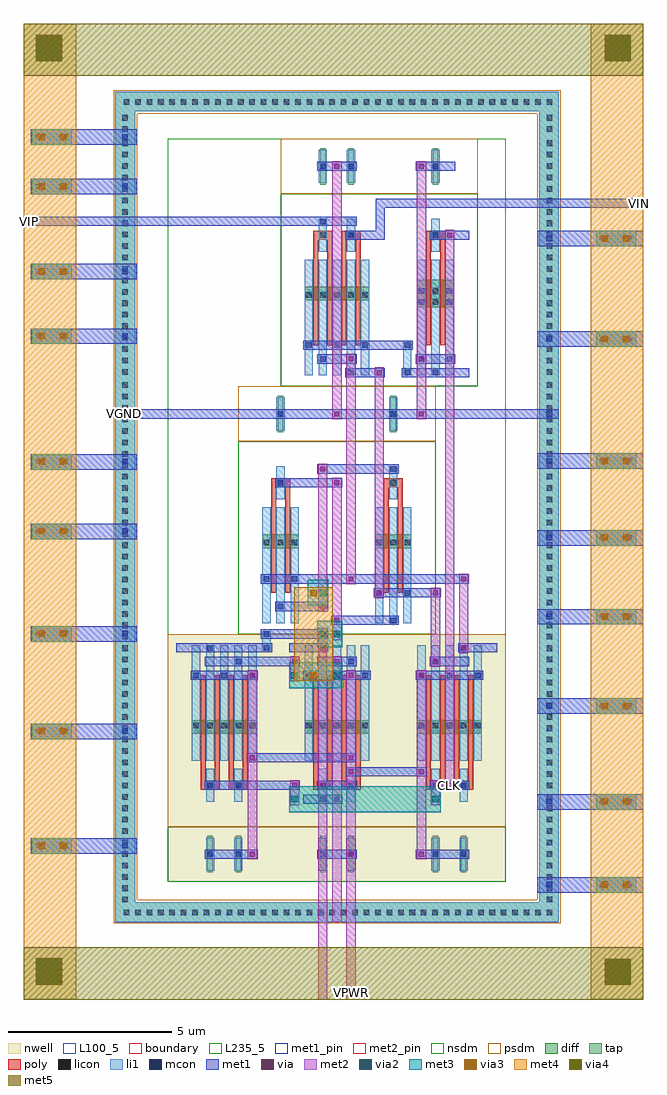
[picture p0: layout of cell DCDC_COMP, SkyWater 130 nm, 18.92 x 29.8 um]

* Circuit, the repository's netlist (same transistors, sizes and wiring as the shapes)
.subckt DCDC_COMP VPWR VGND VIN VIP VOP CLK
X0 VCM CLK VGND VGND  sky130_fd_pr__nfet_01v8 w=840000u l=150000u m=2
X1 VMP VIN VCM VGND  sky130_fd_pr__nfet_01v8 w=420000u l=150000u m=2
X2 VMN VIP VCM VGND  sky130_fd_pr__nfet_01v8 w=420000u l=150000u m=2
X3 VOP VON VMP VGND  sky130_fd_pr__nfet_01v8 w=420000u l=150000u m=2
X4 VON VOP VMN VGND  sky130_fd_pr__nfet_01v8 w=420000u l=150000u m=2
X5 VOP VON VPWR VPWR  sky130_fd_pr__pfet_01v8 w=420000u l=150000u m=2
X6 VON VOP VPWR VPWR  sky130_fd_pr__pfet_01v8 w=420000u l=150000u m=2
X7 VOP CLK VPWR VPWR  sky130_fd_pr__pfet_01v8 w=420000u l=150000u m=2
X8 VON CLK VPWR VPWR  sky130_fd_pr__pfet_01v8 w=420000u l=150000u m=2
X9 VMP CLK VPWR VPWR  sky130_fd_pr__pfet_01v8 w=420000u l=150000u m=2
X10 VMN CLK VPWR VPWR sky130_fd_pr__pfet_01v8 w=420000u l=150000u m=2
.ends DCDC_COMP

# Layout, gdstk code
from math import pi, radians
import gdstk
lib = gdstk.Library(unit=1e-6, precision=1e-09)
def R(c, l, rs):  # rectangles x0, y0, x1, y1
    for r in rs: c.add(gdstk.rectangle(r[:2], r[2:], *l))
def A(c, l, x, y, w, h, nx, ny, dx, dy):  # array of equal rectangles
    R(c, l, [(x+i*dx, y+j*dy, x+i*dx+w, y+j*dy+h) for i in range(nx) for j in range(ny)])
def P(c, l, *ps):  # polygons
    for p in ps: c.add(gdstk.Polygon(p, *l))
nwell = (64, 20)
diff = (65, 20)
tap = (65, 44)
poly = (66, 20)
licon = (66, 44)
li1 = (67, 20)
mcon = (67, 44)
met1_pin = (68, 16)
met1 = (68, 20)
via = (68, 44)
met2_pin = (69, 16)
met2 = (69, 20)
via2 = (69, 44)
met3 = (70, 20)
via3 = (70, 44)
met4 = (71, 20)
via4 = (71, 44)
met5 = (72, 20)
nsdm = (93, 44)
psdm = (94, 20)
L100_5 = (100, 5)
boundary = (235, 4)
L235_5 = (235, 5)

ccp_pmos_58853955_x1_y1_ = lib.new_cell('CCP_PMOS_58853955_X1_Y1_1653158392')
R(ccp_pmos_58853955_x1_y1_, nwell, [(0,0,3.44,7.56)])
R(ccp_pmos_58853955_x1_y1_, diff, [(0.735,2.625,2.705,3.045)])
R(ccp_pmos_58853955_x1_y1_, tap, [(1.205,6.16,1.375,7.28), (2.065,6.16,2.235,7.28)])
A(ccp_pmos_58853955_x1_y1_, poly, 1, 1.26, 0.15, 3.36, 4, 1, 0.43, 0)
R(ccp_pmos_58853955_x1_y1_, poly, [(1,4.485,1.58,4.755), (1.86,4.485,2.44,4.755)])
A(ccp_pmos_58853955_x1_y1_, licon, 0.775, 2.705, 0.17, 0.17, 3, 1, 0.43, 0)
A(ccp_pmos_58853955_x1_y1_, licon, 1.635, 2.705, 0.17, 0.17, 3, 1, 0.43, 0)
R(ccp_pmos_58853955_x1_y1_, licon, [(1.205,4.535,1.375,4.705), (2.065,4.535,2.235,4.705), (1.205,6.635,1.375,6.805), (2.065,6.635,2.235,6.805)])
A(ccp_pmos_58853955_x1_y1_, li1, 0.735, 0.335, 0.25, 3.53, 5, 1, 0.43, 0)
R(ccp_pmos_58853955_x1_y1_, li1, [(1.165,4.115,1.415,5.125), (2.025,4.115,2.275,5.125), (1.165,6.215,1.415,7.225), (2.025,6.215,2.275,7.225)])
A(ccp_pmos_58853955_x1_y1_, mcon, 0.775, 1.175, 0.17, 0.17, 3, 1, 0.86, 0)
R(ccp_pmos_58853955_x1_y1_, mcon, [(1.205,0.335,1.375,0.505), (2.065,0.755,2.235,0.925), (2.065,4.535,2.235,4.705), (1.205,4.955,1.375,5.125), (1.205,6.635,1.375,6.805), (2.065,6.635,2.235,6.805)])
R(ccp_pmos_58853955_x1_y1_, met1, [(0.26,0.28,1.46,0.56), (1.12,0.7,2.32,0.98), (0.69,1.12,2.75,1.4), (1.12,4.48,2.32,4.76), (0.69,4.9,1.89,5.18), (1.12,6.58,2.32,6.86)])
R(ccp_pmos_58853955_x1_y1_, via, [(1.215,0.345,1.365,0.495), (1.645,0.765,1.795,0.915), (2.075,1.185,2.225,1.335), (1.215,4.545,1.365,4.695), (1.645,4.965,1.795,5.115), (2.075,6.645,2.225,6.795)])
R(ccp_pmos_58853955_x1_y1_, met2, [(1.15,0.26,1.43,11.158), (1.58,0.68,1.86,8.796), (2.01,1.1,2.29,11.158)])
R(ccp_pmos_58853955_x1_y1_, nsdm, [(0,5.88,3.44,7.56)])
R(ccp_pmos_58853955_x1_y1_, psdm, [(0,0,3.44,5.88)])
R(ccp_pmos_58853955_x1_y1_, L100_5, [(0,0,3.44,7.56)])

cmc_pmos_23131506_x1_y1_ = lib.new_cell('CMC_PMOS_23131506_X1_Y1_1653158394')
R(cmc_pmos_23131506_x1_y1_, nwell, [(0,0,3.44,7.56)])
R(cmc_pmos_23131506_x1_y1_, diff, [(0.735,2.625,2.705,3.045)])
R(cmc_pmos_23131506_x1_y1_, tap, [(1.205,6.16,1.375,7.28), (2.065,6.16,2.235,7.28)])
A(cmc_pmos_23131506_x1_y1_, poly, 1, 1.26, 0.15, 3.36, 4, 1, 0.43, 0)
R(cmc_pmos_23131506_x1_y1_, poly, [(1,4.485,1.58,4.755), (1.86,4.485,2.44,4.755)])
A(cmc_pmos_23131506_x1_y1_, licon, 0.775, 2.705, 0.17, 0.17, 3, 1, 0.43, 0)
A(cmc_pmos_23131506_x1_y1_, licon, 1.635, 2.705, 0.17, 0.17, 3, 1, 0.43, 0)
R(cmc_pmos_23131506_x1_y1_, licon, [(1.205,4.535,1.375,4.705), (2.065,4.535,2.235,4.705), (1.205,6.635,1.375,6.805), (2.065,6.635,2.235,6.805)])
A(cmc_pmos_23131506_x1_y1_, li1, 0.735, 0.335, 0.25, 3.53, 5, 1, 0.43, 0)
R(cmc_pmos_23131506_x1_y1_, li1, [(1.165,4.115,1.415,5.125), (2.025,4.115,2.275,5.125), (1.165,6.215,1.415,7.225), (2.025,6.215,2.275,7.225)])
A(cmc_pmos_23131506_x1_y1_, mcon, 0.775, 1.175, 0.17, 0.17, 3, 1, 0.86, 0)
R(cmc_pmos_23131506_x1_y1_, mcon, [(1.205,0.335,1.375,0.505), (2.065,0.755,2.235,0.925), (1.205,4.535,1.375,4.705), (2.065,4.535,2.235,4.705), (1.205,6.635,1.375,6.805), (2.065,6.635,2.235,6.805)])
R(cmc_pmos_23131506_x1_y1_, met1, [(0.26,0.28,1.46,0.56), (1.12,0.7,2.32,0.98), (0.69,1.12,2.75,1.4), (1.12,4.48,2.32,4.76), (1.12,6.58,2.75,6.86)])
R(cmc_pmos_23131506_x1_y1_, via, [(2.505,1.185,2.655,1.335), (2.505,6.645,2.655,6.795)])
R(cmc_pmos_23131506_x1_y1_, met2, [(2.44,1.1,2.72,6.88)])
R(cmc_pmos_23131506_x1_y1_, nsdm, [(0,5.88,3.44,7.56)])
R(cmc_pmos_23131506_x1_y1_, psdm, [(0,0,3.44,5.88)])
R(cmc_pmos_23131506_x1_y1_, L100_5, [(0,0,3.44,7.56)])

ccp_s_nmos_b_5782581_x1_ = lib.new_cell('CCP_S_NMOS_B_5782581_X1_Y1_1653158393')
R(ccp_s_nmos_b_5782581_x1_, diff, [(0.735,2.625,1.845,3.045), (4.175,2.625,5.285,3.045)])
R(ccp_s_nmos_b_5782581_x1_, tap, [(1.205,6.16,1.375,7.28), (4.645,6.16,4.815,7.28)])
R(ccp_s_nmos_b_5782581_x1_, poly, [(1,1.26,1.15,4.62), (1.43,1.26,1.58,4.62), (4.44,1.26,4.59,4.62), (4.87,1.26,5.02,4.62), (1,4.485,1.58,4.755), (4.44,4.485,5.02,4.755)])
A(ccp_s_nmos_b_5782581_x1_, licon, 0.775, 2.705, 0.17, 0.17, 3, 1, 0.43, 0)
A(ccp_s_nmos_b_5782581_x1_, licon, 4.215, 2.705, 0.17, 0.17, 3, 1, 0.43, 0)
R(ccp_s_nmos_b_5782581_x1_, licon, [(1.205,4.535,1.375,4.705), (4.645,4.535,4.815,4.705), (1.205,6.635,1.375,6.805), (4.645,6.635,4.815,6.805)])
A(ccp_s_nmos_b_5782581_x1_, li1, 0.735, 0.335, 0.25, 3.53, 3, 1, 0.43, 0)
A(ccp_s_nmos_b_5782581_x1_, li1, 4.175, 0.335, 0.25, 3.53, 3, 1, 0.43, 0)
R(ccp_s_nmos_b_5782581_x1_, li1, [(1.165,4.115,1.415,5.125), (4.605,4.115,4.855,5.125), (1.165,6.215,1.415,7.225), (4.605,6.215,4.855,7.225)])
R(ccp_s_nmos_b_5782581_x1_, mcon, [(1.205,0.335,1.375,0.505), (4.645,0.755,4.815,0.925), (0.775,1.175,0.945,1.345), (1.635,1.175,1.805,1.345), (4.215,1.595,4.385,1.765), (5.075,1.595,5.245,1.765), (4.645,4.535,4.815,4.705), (1.205,4.955,1.375,5.125), (1.205,6.635,1.375,6.805), (4.645,6.635,4.815,6.805)])
R(ccp_s_nmos_b_5782581_x1_, met1, [(1.12,0.28,3.18,0.56), (3.27,0.7,4.9,0.98), (0.69,1.12,1.89,1.4), (4.13,1.54,5.33,1.82), (2.84,4.48,4.9,4.76), (1.12,4.9,3.61,5.18), (1.12,6.58,9.775,6.86)])
R(ccp_s_nmos_b_5782581_x1_, via, [(2.935,0.345,3.085,0.495), (3.365,0.765,3.515,0.915), (2.935,4.545,3.085,4.695), (3.365,4.965,3.515,5.115)])
R(ccp_s_nmos_b_5782581_x1_, met2, [(2.87,0.26,3.15,4.78), (3.3,0.68,3.58,5.2)])
R(ccp_s_nmos_b_5782581_x1_, nsdm, [(0,0,6.02,5.88)])
R(ccp_s_nmos_b_5782581_x1_, psdm, [(0,5.88,6.02,7.56)])
R(ccp_s_nmos_b_5782581_x1_, L100_5, [(0,0,6.02,7.56)])

dp_nmos_b_93310865_x1_y1 = lib.new_cell('DP_NMOS_B_93310865_X1_Y1_1653158395')
R(dp_nmos_b_93310865_x1_y1, diff, [(0.735,2.625,2.705,3.045)])
R(dp_nmos_b_93310865_x1_y1, tap, [(1.205,6.16,1.375,7.28), (2.065,6.16,2.235,7.28)])
A(dp_nmos_b_93310865_x1_y1, poly, 1, 1.26, 0.15, 3.36, 4, 1, 0.43, 0)
R(dp_nmos_b_93310865_x1_y1, poly, [(1,4.485,1.58,4.755), (1.86,4.485,2.44,4.755)])
A(dp_nmos_b_93310865_x1_y1, licon, 0.775, 2.705, 0.17, 0.17, 3, 1, 0.43, 0)
A(dp_nmos_b_93310865_x1_y1, licon, 1.635, 2.705, 0.17, 0.17, 3, 1, 0.43, 0)
R(dp_nmos_b_93310865_x1_y1, licon, [(1.205,4.535,1.375,4.705), (2.065,4.535,2.235,4.705), (1.205,6.635,1.375,6.805), (2.065,6.635,2.235,6.805)])
A(dp_nmos_b_93310865_x1_y1, li1, 0.735, 0.335, 0.25, 3.53, 5, 1, 0.43, 0)
R(dp_nmos_b_93310865_x1_y1, li1, [(1.165,4.115,1.415,5.125), (2.025,4.115,2.275,5.125), (1.165,6.215,1.415,7.225), (2.025,6.215,2.275,7.225)])
A(dp_nmos_b_93310865_x1_y1, mcon, 0.775, 1.175, 0.17, 0.17, 3, 1, 0.86, 0)
R(dp_nmos_b_93310865_x1_y1, mcon, [(1.205,0.335,1.375,0.505), (2.065,0.755,2.235,0.925), (1.205,4.535,1.375,4.705), (2.065,4.955,2.235,5.125), (1.205,6.635,1.375,6.805), (2.065,6.635,2.235,6.805)])
R(dp_nmos_b_93310865_x1_y1, met1, [(0.26,0.28,1.46,0.56), (1.12,0.7,2.32,0.98), (0.69,1.12,2.75,1.4), (0.26,4.48,1.46,4.76), (1.12,4.9,2.32,5.18), (1.12,6.58,2.32,6.86)])
R(dp_nmos_b_93310865_x1_y1, nsdm, [(0,0,3.44,5.88)])
R(dp_nmos_b_93310865_x1_y1, psdm, [(0,5.88,3.44,7.56)])
R(dp_nmos_b_93310865_x1_y1, L100_5, [(0,0,3.44,7.56)])

nmos_s_93862694_x1_y1_16 = lib.new_cell('NMOS_S_93862694_X1_Y1_1653158396')
R(nmos_s_93862694_x1_y1_16, diff, [(0.735,2.415,1.845,3.255)])
R(nmos_s_93862694_x1_y1_16, tap, [(1.205,6.16,1.375,7.28)])
R(nmos_s_93862694_x1_y1_16, poly, [(1,1.26,1.15,4.62), (1.43,1.26,1.58,4.62), (1,4.485,1.58,4.755)])
A(nmos_s_93862694_x1_y1_16, licon, 0.775, 2.495, 0.17, 0.17, 3, 2, 0.43, 0.34)
R(nmos_s_93862694_x1_y1_16, licon, [(1.205,4.535,1.375,4.705), (1.205,6.635,1.375,6.805)])
A(nmos_s_93862694_x1_y1_16, li1, 0.735, 0.335, 0.25, 3.53, 3, 1, 0.43, 0)
R(nmos_s_93862694_x1_y1_16, li1, [(1.165,4.115,1.415,5.125), (1.165,6.215,1.415,7.225)])
R(nmos_s_93862694_x1_y1_16, mcon, [(1.205,0.335,1.375,0.505), (0.775,0.755,0.945,0.925), (1.635,0.755,1.805,0.925), (1.205,4.535,1.375,4.705), (1.205,6.635,1.375,6.805)])
R(nmos_s_93862694_x1_y1_16, met1, [(0.26,0.28,1.46,0.56), (0.69,0.7,1.89,0.98), (0.26,4.48,1.46,4.76), (0.69,6.58,1.89,6.86)])
R(nmos_s_93862694_x1_y1_16, via, [(1.645,0.765,1.795,0.915), (1.645,6.645,1.795,6.795)])
R(nmos_s_93862694_x1_y1_16, met2, [(1.58,0.68,1.86,6.88)])
R(nmos_s_93862694_x1_y1_16, nsdm, [(0,0,2.58,5.88)])
R(nmos_s_93862694_x1_y1_16, psdm, [(0,5.88,2.58,7.56)])
R(nmos_s_93862694_x1_y1_16, L100_5, [(0,0,2.58,7.56)])

dcdc_comp = lib.new_cell('DCDC_COMP')
R(dcdc_comp, tap, [(2.799,2.362,16.342,2.962), (2.799,2.362,3.399,27.718), (15.742,2.362,16.342,27.718), (2.799,27.118,16.342,27.718), (2.799,27.118,16.342,27.718)])
A(dcdc_comp, licon, 3.053, 2.573, 0.17, 0.17, 7, 2, 0.349, 24.743)
A(dcdc_comp, licon, 6.194, 2.573, 0.17, 0.17, 9, 2, 0.349, 24.743)
A(dcdc_comp, licon, 10.033, 2.573, 0.17, 0.17, 8, 2, 0.349, 24.743)
A(dcdc_comp, licon, 13.523, 2.573, 0.17, 0.17, 8, 2, 0.349, 24.743)
A(dcdc_comp, licon, 3.009, 4.358, 0.17, 0.17, 1, 8, 0, 0.349)
A(dcdc_comp, licon, 15.964, 4.358, 0.17, 0.17, 1, 8, 0, 0.349)
A(dcdc_comp, licon, 3.009, 7.848, 0.17, 0.17, 1, 9, 0, 0.349)
A(dcdc_comp, licon, 15.964, 7.848, 0.17, 0.17, 1, 9, 0, 0.349)
A(dcdc_comp, licon, 3.009, 12.389, 0.17, 0.17, 1, 8, 0, 0.349)
A(dcdc_comp, licon, 15.964, 12.389, 0.17, 0.17, 1, 8, 0, 0.349)
A(dcdc_comp, licon, 3.009, 15.879, 0.17, 0.17, 1, 9, 0, 0.349)
A(dcdc_comp, licon, 15.964, 15.879, 0.17, 0.17, 1, 9, 0, 0.349)
A(dcdc_comp, licon, 3.009, 19.777, 0.17, 0.17, 1, 8, 0, 0.349)
A(dcdc_comp, licon, 15.964, 19.777, 0.17, 0.17, 1, 8, 0, 0.349)
A(dcdc_comp, licon, 3.009, 23.267, 0.17, 0.17, 1, 9, 0, 0.349)
A(dcdc_comp, licon, 15.964, 23.267, 0.17, 0.17, 1, 9, 0, 0.349)
R(dcdc_comp, licon, [(5.147,2.573,5.317,2.743), (5.147,2.573,5.317,2.743), (5.496,2.573,5.666,2.743), (5.496,2.573,5.666,2.743), (5.496,2.573,5.666,2.743), (5.845,2.573,6.015,2.743), (5.845,2.573,6.015,2.743), (5.845,2.573,6.015,2.743), (5.845,2.573,6.015,2.743), (6.194,2.573,6.364,2.743), (6.194,2.573,6.364,2.743), (6.194,2.573,6.364,2.743), (8.986,2.573,9.156,2.743), (8.986,2.573,9.156,2.743), (9.335,2.573,9.505,2.743), (9.335,2.573,9.505,2.743), (9.335,2.573,9.505,2.743), (9.684,2.573,9.854,2.743), (9.684,2.573,9.854,2.743), (9.684,2.573,9.854,2.743), (9.684,2.573,9.854,2.743), (10.033,2.573,10.203,2.743), (10.033,2.573,10.203,2.743), (10.033,2.573,10.203,2.743), (12.476,2.573,12.646,2.743), (12.476,2.573,12.646,2.743), (12.825,2.573,12.995,2.743), (12.825,2.573,12.995,2.743), (12.825,2.573,12.995,2.743), (13.174,2.573,13.344,2.743), (13.174,2.573,13.344,2.743), (13.174,2.573,13.344,2.743), (13.174,2.573,13.344,2.743), (13.523,2.573,13.693,2.743), (13.523,2.573,13.693,2.743), (13.523,2.573,13.693,2.743), (3.009,2.962,3.179,3.132), (15.964,2.962,16.134,3.132), (3.009,3.311,3.179,3.481), (3.009,3.311,3.179,3.481), (3.009,3.311,3.179,3.481), (3.009,3.311,3.179,3.481), (15.964,3.311,16.134,3.481), (15.964,3.311,16.134,3.481), (15.964,3.311,16.134,3.481), (15.964,3.311,16.134,3.481), (3.009,3.66,3.179,3.83), (3.009,3.66,3.179,3.83), (3.009,3.66,3.179,3.83), (3.009,3.66,3.179,3.83), (15.964,3.66,16.134,3.83), (15.964,3.66,16.134,3.83), (15.964,3.66,16.134,3.83), (15.964,3.66,16.134,3.83), (3.009,4.009,3.179,4.179), (3.009,4.009,3.179,4.179), (3.009,4.009,3.179,4.179), (15.964,4.009,16.134,4.179), (15.964,4.009,16.134,4.179), (15.964,4.009,16.134,4.179), (3.009,4.358,3.179,4.528), (3.009,4.358,3.179,4.528), (15.964,4.358,16.134,4.528), (15.964,4.358,16.134,4.528), (3.009,6.801,3.179,6.971), (3.009,6.801,3.179,6.971), (3.009,6.801,3.179,6.971), (15.964,6.801,16.134,6.971), (15.964,6.801,16.134,6.971), (15.964,6.801,16.134,6.971), (3.009,7.15,3.179,7.32), (3.009,7.15,3.179,7.32), (3.009,7.15,3.179,7.32), (3.009,7.15,3.179,7.32), (15.964,7.15,16.134,7.32), (15.964,7.15,16.134,7.32), (15.964,7.15,16.134,7.32), (15.964,7.15,16.134,7.32), (3.009,7.499,3.179,7.669), (3.009,7.499,3.179,7.669), (3.009,7.499,3.179,7.669), (15.964,7.499,16.134,7.669), (15.964,7.499,16.134,7.669), (15.964,7.499,16.134,7.669), (3.009,7.848,3.179,8.018), (3.009,7.848,3.179,8.018), (15.964,7.848,16.134,8.018), (15.964,7.848,16.134,8.018), (3.009,10.64,3.179,10.81), (3.009,10.64,3.179,10.81), (3.009,10.64,3.179,10.81), (15.964,10.64,16.134,10.81), (15.964,10.64,16.134,10.81), (15.964,10.64,16.134,10.81), (3.009,10.993,3.179,11.163), (15.964,10.993,16.134,11.163), (3.009,11.342,3.179,11.512), (3.009,11.342,3.179,11.512), (3.009,11.342,3.179,11.512), (3.009,11.342,3.179,11.512), (15.964,11.342,16.134,11.512), (15.964,11.342,16.134,11.512), (15.964,11.342,16.134,11.512), (15.964,11.342,16.134,11.512), (3.009,11.691,3.179,11.861), (3.009,11.691,3.179,11.861), (3.009,11.691,3.179,11.861), (3.009,11.691,3.179,11.861), (15.964,11.691,16.134,11.861), (15.964,11.691,16.134,11.861), (15.964,11.691,16.134,11.861), (15.964,11.691,16.134,11.861), (3.009,12.04,3.179,12.21), (3.009,12.04,3.179,12.21), (3.009,12.04,3.179,12.21), (15.964,12.04,16.134,12.21), (15.964,12.04,16.134,12.21), (15.964,12.04,16.134,12.21), (3.009,12.389,3.179,12.559), (3.009,12.389,3.179,12.559), (15.964,12.389,16.134,12.559), (15.964,12.389,16.134,12.559), (3.009,14.832,3.179,15.002), (3.009,14.832,3.179,15.002), (3.009,14.832,3.179,15.002), (15.964,14.832,16.134,15.002), (15.964,14.832,16.134,15.002), (15.964,14.832,16.134,15.002), (3.009,15.181,3.179,15.351), (3.009,15.181,3.179,15.351), (3.009,15.181,3.179,15.351), (3.009,15.181,3.179,15.351), (15.964,15.181,16.134,15.351), (15.964,15.181,16.134,15.351), (15.964,15.181,16.134,15.351), (15.964,15.181,16.134,15.351), (3.009,15.53,3.179,15.7), (3.009,15.53,3.179,15.7), (3.009,15.53,3.179,15.7), (15.964,15.53,16.134,15.7), (15.964,15.53,16.134,15.7), (15.964,15.53,16.134,15.7), (3.009,15.879,3.179,16.049), (3.009,15.879,3.179,16.049), (15.964,15.879,16.134,16.049), (15.964,15.879,16.134,16.049), (3.009,18.671,3.179,18.841), (3.009,18.671,3.179,18.841), (3.009,18.671,3.179,18.841), (15.964,18.671,16.134,18.841), (15.964,18.671,16.134,18.841), (15.964,18.671,16.134,18.841), (3.009,19.079,3.179,19.249), (3.009,19.079,3.179,19.249), (3.009,19.079,3.179,19.249), (3.009,19.079,3.179,19.249), (15.964,19.079,16.134,19.249), (15.964,19.079,16.134,19.249), (15.964,19.079,16.134,19.249), (15.964,19.079,16.134,19.249), (3.009,19.428,3.179,19.598), (3.009,19.428,3.179,19.598), (3.009,19.428,3.179,19.598), (15.964,19.428,16.134,19.598), (15.964,19.428,16.134,19.598), (15.964,19.428,16.134,19.598), (3.009,19.777,3.179,19.947), (3.009,19.777,3.179,19.947), (15.964,19.777,16.134,19.947), (15.964,19.777,16.134,19.947), (3.009,22.22,3.179,22.39), (3.009,22.22,3.179,22.39), (3.009,22.22,3.179,22.39), (15.964,22.22,16.134,22.39), (15.964,22.22,16.134,22.39), (15.964,22.22,16.134,22.39), (3.009,22.569,3.179,22.739), (3.009,22.569,3.179,22.739), (3.009,22.569,3.179,22.739), (3.009,22.569,3.179,22.739), (15.964,22.569,16.134,22.739), (15.964,22.569,16.134,22.739), (15.964,22.569,16.134,22.739), (15.964,22.569,16.134,22.739), (3.009,22.918,3.179,23.088), (3.009,22.918,3.179,23.088), (3.009,22.918,3.179,23.088), (15.964,22.918,16.134,23.088), (15.964,22.918,16.134,23.088), (15.964,22.918,16.134,23.088), (3.009,23.267,3.179,23.437), (3.009,23.267,3.179,23.437), (15.964,23.267,16.134,23.437), (15.964,23.267,16.134,23.437), (3.009,26.059,3.179,26.229), (3.009,26.059,3.179,26.229), (3.009,26.059,3.179,26.229), (15.964,26.059,16.134,26.229), (15.964,26.059,16.134,26.229), (15.964,26.059,16.134,26.229), (3.009,26.488,3.179,26.658), (15.964,26.488,16.134,26.658), (3.009,26.837,3.179,27.007), (3.009,26.837,3.179,27.007), (3.009,26.837,3.179,27.007), (3.009,26.837,3.179,27.007), (15.964,26.837,16.134,27.007), (15.964,26.837,16.134,27.007), (15.964,26.837,16.134,27.007), (15.964,26.837,16.134,27.007), (5.147,27.316,5.317,27.486), (5.147,27.316,5.317,27.486), (5.496,27.316,5.666,27.486), (5.496,27.316,5.666,27.486), (5.496,27.316,5.666,27.486), (5.845,27.316,6.015,27.486), (5.845,27.316,6.015,27.486), (5.845,27.316,6.015,27.486), (5.845,27.316,6.015,27.486), (6.194,27.316,6.364,27.486), (6.194,27.316,6.364,27.486), (6.194,27.316,6.364,27.486), (8.986,27.316,9.156,27.486), (8.986,27.316,9.156,27.486), (9.335,27.316,9.505,27.486), (9.335,27.316,9.505,27.486), (9.335,27.316,9.505,27.486), (9.684,27.316,9.854,27.486), (9.684,27.316,9.854,27.486), (9.684,27.316,9.854,27.486), (9.684,27.316,9.854,27.486), (10.033,27.316,10.203,27.486), (10.033,27.316,10.203,27.486), (10.033,27.316,10.203,27.486), (12.476,27.316,12.646,27.486), (12.476,27.316,12.646,27.486), (12.825,27.316,12.995,27.486), (12.825,27.316,12.995,27.486), (12.825,27.316,12.995,27.486), (13.174,27.316,13.344,27.486), (13.174,27.316,13.344,27.486), (13.174,27.316,13.344,27.486), (13.174,27.316,13.344,27.486), (13.523,27.316,13.693,27.486), (13.523,27.316,13.693,27.486), (13.523,27.316,13.693,27.486)])
R(dcdc_comp, li1, [(2.799,2.362,16.342,2.962), (2.799,2.362,3.399,27.718), (15.742,2.362,16.342,27.718), (7.289,10.653,7.539,10.823), (7.289,10.653,7.539,10.823), (7.289,10.653,7.539,10.823), (7.289,10.653,7.539,10.823), (7.289,10.738,7.539,11.158), (7.289,11.073,7.539,11.243), (7.289,11.073,7.539,11.243), (7.289,11.073,7.539,11.243), (7.289,11.073,7.539,11.243), (11.589,19.053,11.839,19.223), (11.589,19.053,11.839,19.223), (11.589,19.138,11.839,19.978), (11.589,19.893,11.839,20.063), (11.589,19.893,11.839,20.063), (2.799,27.118,16.342,27.718)])
R(dcdc_comp, mcon, [(15.961,3.42,16.131,3.59), (3.01,4.612,3.18,4.782), (15.961,5.957,16.131,6.127), (3.01,8.11,3.18,8.28), (15.961,8.883,16.131,9.053), (7.329,10.653,7.499,10.823), (7.329,10.653,7.499,10.823), (7.329,10.653,7.499,10.823), (7.329,10.653,7.499,10.823), (7.329,11.073,7.499,11.243), (7.329,11.073,7.499,11.243), (7.329,11.073,7.499,11.243), (7.329,11.073,7.499,11.243), (3.01,11.086,3.18,11.256), (15.961,11.608,16.131,11.778), (15.961,14.019,16.131,14.189), (3.01,14.215,3.18,14.385), (3.01,16.34,3.18,16.51), (15.961,16.359,16.131,16.529), (15.961,16.359,16.131,16.529), (15.961,17.786,16.131,17.956), (3.009,17.798,3.179,17.968), (11.629,19.053,11.799,19.223), (11.629,19.053,11.799,19.223), (11.629,19.893,11.799,20.063), (11.629,19.893,11.799,20.063), (15.961,20.088,16.131,20.258), (3.01,20.175,3.18,20.345), (3.01,22.147,3.18,22.317), (15.961,23.154,16.131,23.324), (3.01,24.745,3.18,24.915), (3.01,26.253,3.18,26.423)])
R(dcdc_comp, met1_pin, [(12.994,6.528,13.014,6.548), (3.083,17.87,3.103,17.89), (0.179,23.743,0.199,23.763), (18.803,24.302,18.823,24.322)])
R(dcdc_comp, met1, [(15.684,3.262,18.919,3.732), (0.222,4.454,3.457,4.924), (15.684,5.799,18.919,6.269), (6.554,6.398,8.274,6.678), (8.114,6.398,8.434,6.678), (8.114,6.398,8.434,6.678), (8.114,6.398,8.434,6.678), (8.114,6.398,8.434,6.678), (12.414,6.398,12.734,6.678), (12.414,6.398,12.734,6.678), (12.414,6.398,12.734,6.678), (12.414,6.398,12.734,6.678), (12.844,6.398,13.164,6.678), (12.844,6.398,13.164,6.678), (9.834,6.818,10.154,7.098), (9.834,6.818,10.154,7.098), (9.834,6.818,10.154,7.098), (9.834,6.818,10.154,7.098), (9.994,6.818,12.144,7.098), (11.984,6.818,12.304,7.098), (11.984,6.818,12.304,7.098), (11.984,6.818,12.304,7.098), (11.984,6.818,12.304,7.098), (6.824,7.238,7.144,7.518), (6.824,7.238,7.144,7.518), (6.984,7.238,9.994,7.518), (9.834,7.238,10.154,7.518), (9.834,7.238,10.154,7.518), (0.222,7.952,3.457,8.422), (15.684,8.725,18.919,9.195), (6.554,10.178,8.274,10.458), (8.114,10.178,8.434,10.458), (8.114,10.178,8.434,10.458), (8.114,10.178,8.434,10.458), (8.114,10.178,8.434,10.458), (12.414,10.178,12.734,10.458), (12.414,10.178,12.734,10.458), (12.414,10.178,12.734,10.458), (12.414,10.178,12.734,10.458), (5.694,10.598,7.414,10.878), (7.244,10.598,7.584,10.878), (7.244,10.598,7.584,10.878), (7.244,10.598,7.584,10.878), (7.244,10.598,7.584,10.878), (13.274,10.598,13.594,10.878), (13.274,10.598,13.594,10.878), (13.274,10.598,13.594,10.878), (13.274,10.598,13.594,10.878), (0.222,10.928,3.457,11.398), (7.244,11.018,7.584,11.298), (7.244,11.018,7.584,11.298), (7.244,11.018,7.584,11.298), (7.244,11.018,7.584,11.298), (7.414,11.018,9.134,11.298), (8.974,11.018,9.294,11.298), (8.974,11.018,9.294,11.298), (8.974,11.018,9.294,11.298), (8.974,11.018,9.294,11.298), (15.684,11.45,18.919,11.92), (10.694,12.278,11.014,12.558), (10.694,12.278,11.014,12.558), (11.714,12.278,12.574,12.558), (12.414,12.278,12.734,12.558), (12.414,12.278,12.734,12.558), (12.414,12.278,12.734,12.558), (12.414,12.278,12.734,12.558), (8.274,12.698,13.434,12.978), (9.834,12.698,10.154,12.978), (9.834,12.698,10.154,12.978), (13.274,12.698,13.594,12.978), (13.274,12.698,13.594,12.978), (13.274,12.698,13.594,12.978), (13.274,12.698,13.594,12.978), (15.684,13.861,18.919,14.331), (0.222,14.057,3.457,14.527), (0.222,16.182,3.457,16.652), (15.684,16.201,18.919,16.671), (15.684,16.201,18.919,16.671), (9.404,17.738,9.724,18.018), (9.404,17.738,9.724,18.018), (9.404,17.738,9.724,18.018), (9.404,17.738,9.724,18.018), (11.284,17.738,12.144,18.018), (11.984,17.738,12.304,18.018), (11.984,17.738,16.342,18.018), (10.694,18.998,11.014,19.278), (10.694,18.998,11.014,19.278), (11.544,18.998,11.884,19.278), (11.544,18.998,11.884,19.278), (11.714,18.998,12.574,19.278), (9.834,19.418,10.154,19.698), (9.834,19.418,10.154,19.698), (10.424,19.838,11.714,20.118), (11.544,19.838,11.884,20.118), (11.544,19.838,11.884,20.118), (15.684,19.93,18.919,20.4), (0.222,20.017,3.457,20.487), (0.222,21.989,3.457,22.459), (15.684,22.996,18.919,23.466), (10.744,23.198,11.024,24.455), (12.844,23.198,13.164,23.478), (12.844,23.198,13.164,23.478), (0,23.618,9.517,23.898), (10.744,24.175,18.916,24.455), (0.222,24.587,3.457,25.057), (9.404,25.298,9.724,25.578), (9.404,25.298,9.724,25.578), (9.404,25.298,9.724,25.578), (9.404,25.298,9.724,25.578), (0.222,26.095,3.457,26.565)])
P(dcdc_comp, met1, [(4.404,3.598),(4.404,3.598),(4.404,3.598),(4.404,3.598)],
  [(4.404,3.598),(4.404,3.598),(4.404,3.598),(4.404,3.598)],
  [(4.404,3.598),(4.404,3.598),(4.404,3.598),(4.404,3.598)],
  [(4.404,3.598),(4.404,3.598),(4.404,3.598),(4.404,3.598)],
  [(4.404,3.598),(4.404,3.598),(4.404,3.598),(4.404,3.598)],
  [(4.404,3.598),(4.404,3.598),(4.404,3.598),(4.404,3.598)],
  [(4.404,3.598),(4.404,3.598),(4.404,3.598),(4.404,3.598)],
  [(4.404,3.598),(4.404,3.598),(4.404,3.598),(4.404,3.598)],
  [(4.404,3.598),(4.404,3.598),(4.404,3.598),(4.404,3.598)],
  [(4.404,3.598),(4.404,3.598),(4.404,3.598),(4.404,3.598)],
  [(4.404,3.598),(4.404,3.598),(4.404,3.598),(4.404,3.598)],
  [(4.404,3.598),(4.404,3.598),(4.404,3.598),(4.404,3.598)],
  [(4.404,3.598),(4.404,3.598),(4.404,3.598),(4.404,3.598)],
  [(4.404,3.598),(4.404,3.598),(4.404,3.598),(4.404,3.598)],
  [(4.404,3.598),(4.404,3.598),(4.404,3.598),(4.404,3.598)],
  [(4.404,3.598),(4.404,3.598),(4.404,3.598),(4.404,3.598)],
  [(4.404,3.598),(4.404,3.598),(4.404,3.598),(4.404,3.598)],
  [(4.404,3.598),(4.404,3.598),(4.404,3.598),(4.404,3.598)],
  [(4.404,3.598),(4.404,3.598),(4.404,3.598),(4.404,3.598)],
  [(4.404,3.598),(4.404,3.598),(4.404,3.598),(4.404,3.598)],
  [(4.404,3.598),(4.404,3.598),(4.404,3.598),(4.404,3.598)])
R(dcdc_comp, via, [(17.586,3.432,17.736,3.582), (18.43,3.432,18.58,3.582), (0.365,4.624,0.515,4.774), (1.209,4.624,1.359,4.774), (17.586,5.969,17.736,6.119), (18.43,5.969,18.58,6.119), (8.199,6.463,8.349,6.613), (8.199,6.463,8.349,6.613), (8.199,6.463,8.349,6.613), (8.199,6.463,8.349,6.613), (12.499,6.463,12.649,6.613), (12.499,6.463,12.649,6.613), (12.499,6.463,12.649,6.613), (12.499,6.463,12.649,6.613), (12.929,6.463,13.079,6.613), (12.929,6.463,13.079,6.613), (9.919,6.883,10.069,7.033), (9.919,6.883,10.069,7.033), (9.919,6.883,10.069,7.033), (9.919,6.883,10.069,7.033), (12.069,6.883,12.219,7.033), (12.069,6.883,12.219,7.033), (12.069,6.883,12.219,7.033), (12.069,6.883,12.219,7.033), (6.909,7.303,7.059,7.453), (6.909,7.303,7.059,7.453), (9.919,7.303,10.069,7.453), (9.919,7.303,10.069,7.453), (0.365,8.122,0.515,8.272), (1.209,8.122,1.359,8.272), (17.586,8.895,17.736,9.045), (18.43,8.895,18.58,9.045), (8.199,10.243,8.349,10.393), (8.199,10.243,8.349,10.393), (8.199,10.243,8.349,10.393), (8.199,10.243,8.349,10.393), (12.499,10.243,12.649,10.393), (12.499,10.243,12.649,10.393), (12.499,10.243,12.649,10.393), (12.499,10.243,12.649,10.393), (13.359,10.663,13.509,10.813), (13.359,10.663,13.509,10.813), (13.359,10.663,13.509,10.813), (13.359,10.663,13.509,10.813), (9.059,11.083,9.209,11.233), (9.059,11.083,9.209,11.233), (9.059,11.083,9.209,11.233), (9.059,11.083,9.209,11.233), (0.365,11.098,0.515,11.248), (1.209,11.098,1.359,11.248), (17.586,11.62,17.736,11.77), (18.43,11.62,18.58,11.77), (10.779,12.343,10.929,12.493), (10.779,12.343,10.929,12.493), (12.499,12.343,12.649,12.493), (12.499,12.343,12.649,12.493), (12.499,12.343,12.649,12.493), (12.499,12.343,12.649,12.493), (9.919,12.763,10.069,12.913), (9.919,12.763,10.069,12.913), (13.359,12.763,13.509,12.913), (13.359,12.763,13.509,12.913), (13.359,12.763,13.509,12.913), (13.359,12.763,13.509,12.913), (17.586,14.031,17.736,14.181), (18.43,14.031,18.58,14.181), (0.365,14.227,0.515,14.377), (1.209,14.227,1.359,14.377), (0.365,16.352,0.515,16.502), (1.209,16.352,1.359,16.502), (17.586,16.371,17.736,16.521), (18.43,16.371,18.58,16.521), (9.489,17.803,9.639,17.953), (9.489,17.803,9.639,17.953), (9.489,17.803,9.639,17.953), (9.489,17.803,9.639,17.953), (12.069,17.803,12.219,17.953), (12.069,17.803,12.219,17.953), (10.779,19.063,10.929,19.213), (10.779,19.063,10.929,19.213), (9.919,19.483,10.069,19.633), (9.919,19.483,10.069,19.633), (17.586,20.1,17.736,20.25), (18.43,20.1,18.58,20.25), (0.365,20.187,0.515,20.337), (1.209,20.187,1.359,20.337), (0.365,22.159,0.515,22.309), (1.209,22.159,1.359,22.309), (17.586,23.166,17.736,23.316), (18.43,23.166,18.58,23.316), (12.929,23.263,13.079,23.413), (12.929,23.263,13.079,23.413), (0.365,24.757,0.515,24.907), (1.209,24.757,1.359,24.907), (9.489,25.363,9.639,25.513), (9.489,25.363,9.639,25.513), (9.489,25.363,9.639,25.513), (9.489,25.363,9.639,25.513), (0.365,26.265,0.515,26.415), (1.209,26.265,1.359,26.415)])
R(dcdc_comp, met2_pin, [(9.124,0.214,9.144,0.234), (9.984,0.217,10.004,0.237), (9.984,0.217,10.004,0.237)])
R(dcdc_comp, met2, [(17.478,3.262,18.7,3.732), (0.245,4.454,1.467,4.924), (17.478,5.799,18.7,6.269), (8.134,5.933,8.414,6.303), (8.134,5.933,8.414,6.303), (8.134,5.933,8.414,6.303), (8.134,5.933,8.414,6.303), (12.434,5.933,12.714,6.303), (12.434,5.933,12.714,6.303), (12.434,5.933,12.714,6.303), (12.434,5.933,12.714,6.303), (8.134,6.118,8.414,6.538), (12.434,6.118,12.714,6.538), (8.134,6.378,8.414,6.698), (8.134,6.378,8.414,6.698), (8.134,6.378,8.414,6.698), (8.134,6.378,8.414,6.698), (12.434,6.378,12.714,6.698), (12.434,6.378,12.714,6.698), (12.434,6.378,12.714,6.698), (12.434,6.378,12.714,6.698), (12.864,6.378,13.144,6.698), (12.864,6.378,13.144,6.698), (12.864,6.538,13.144,23.338), (9.854,6.798,10.134,7.118), (9.854,6.798,10.134,7.118), (9.854,6.798,10.134,7.118), (9.854,6.798,10.134,7.118), (12.004,6.798,12.284,7.118), (12.004,6.798,12.284,7.118), (12.004,6.798,12.284,7.118), (12.004,6.798,12.284,7.118), (6.844,7.218,7.124,7.538), (6.844,7.218,7.124,7.538), (9.854,7.218,10.134,7.538), (9.854,7.218,10.134,7.538), (0.245,7.952,1.467,8.422), (17.478,8.725,18.7,9.195), (8.134,9.713,8.414,10.083), (8.134,9.713,8.414,10.083), (8.134,9.713,8.414,10.083), (8.134,9.713,8.414,10.083), (9.424,9.713,9.704,10.083), (9.424,9.713,9.704,10.083), (9.424,9.713,9.704,10.083), (9.424,9.713,9.704,10.083), (8.134,9.898,8.414,10.318), (8.134,10.158,8.414,10.478), (8.134,10.158,8.414,10.478), (8.134,10.158,8.414,10.478), (8.134,10.158,8.414,10.478), (12.434,10.158,12.714,10.478), (12.434,10.158,12.714,10.478), (12.434,10.158,12.714,10.478), (12.434,10.158,12.714,10.478), (12.434,10.318,12.714,12.418), (13.294,10.578,13.574,10.898), (13.294,10.578,13.574,10.898), (13.294,10.578,13.574,10.898), (13.294,10.578,13.574,10.898), (8.994,10.738,9.274,11.158), (13.294,10.738,13.574,12.838), (0.245,10.928,1.467,11.398), (8.994,10.973,9.274,11.343), (8.994,10.973,9.274,11.343), (9.424,10.973,9.704,11.343), (9.424,10.973,9.704,11.343), (8.994,10.998,9.274,11.318), (8.994,10.998,9.274,11.318), (8.994,10.998,9.274,11.318), (8.994,10.998,9.274,11.318), (9.424,11.158,9.704,11.578), (17.478,11.45,18.7,11.92), (8.994,12.233,9.274,12.603), (10.714,12.258,10.994,12.578), (10.714,12.258,10.994,12.578), (12.434,12.258,12.714,12.578), (12.434,12.258,12.714,12.578), (12.434,12.258,12.714,12.578), (12.434,12.258,12.714,12.578), (10.714,12.418,10.994,19.138), (9.854,12.678,10.134,12.998), (9.854,12.678,10.134,12.998), (13.294,12.678,13.574,12.998), (13.294,12.678,13.574,12.998), (13.294,12.678,13.574,12.998), (13.294,12.678,13.574,12.998), (9.854,12.838,10.134,19.558), (17.478,13.861,18.7,14.331), (0.245,14.057,1.467,14.527), (0.245,16.182,1.467,16.652), (17.478,16.201,18.7,16.671), (9.424,17.718,9.704,18.038), (9.424,17.718,9.704,18.038), (9.424,17.718,9.704,18.038), (9.424,17.718,9.704,18.038), (12.004,17.718,12.284,18.038), (12.004,17.718,12.284,18.038), (9.424,17.878,9.704,25.438), (12.004,17.878,12.284,19.558), (10.714,18.978,10.994,19.298), (10.714,18.978,10.994,19.298), (9.854,19.398,10.134,19.718), (9.854,19.398,10.134,19.718), (17.478,19.93,18.7,20.4), (0.245,20.017,1.467,20.487), (0.245,21.989,1.467,22.459), (17.478,22.996,18.7,23.466), (12.864,23.178,13.144,23.498), (12.864,23.178,13.144,23.498), (0.245,24.587,1.467,25.057), (9.424,25.278,9.704,25.598), (9.424,25.278,9.704,25.598), (9.424,25.278,9.704,25.598), (9.424,25.278,9.704,25.598), (0.245,26.095,1.467,26.565)])
P(dcdc_comp, met2, [(4.404,3.598),(4.404,3.598),(4.404,3.598),(4.404,3.598)],
  [(4.404,3.598),(4.404,3.598),(4.404,3.598),(4.404,3.598)],
  [(4.404,3.598),(4.404,3.598),(4.404,3.598),(4.404,3.598)],
  [(4.404,3.598),(4.404,3.598),(4.404,3.598),(4.404,3.598)],
  [(4.404,3.598),(4.404,3.598),(4.404,3.598),(4.404,3.598)],
  [(4.404,3.598),(4.404,3.598),(4.404,3.598),(4.404,3.598)],
  [(4.404,3.598),(4.404,3.598),(4.404,3.598),(4.404,3.598)],
  [(4.404,3.598),(4.404,3.598),(4.404,3.598),(4.404,3.598)],
  [(4.404,3.598),(4.404,3.598),(4.404,3.598),(4.404,3.598)],
  [(4.404,3.598),(4.404,3.598),(4.404,3.598),(4.404,3.598)],
  [(4.404,3.598),(4.404,3.598),(4.404,3.598),(4.404,3.598)])
R(dcdc_comp, via2, [(8.174,6.018,8.374,6.218), (8.174,6.018,8.374,6.218), (8.174,6.018,8.374,6.218), (8.174,6.018,8.374,6.218), (12.474,6.018,12.674,6.218), (12.474,6.018,12.674,6.218), (12.474,6.018,12.674,6.218), (12.474,6.018,12.674,6.218), (8.174,9.798,8.374,9.998), (8.174,9.798,8.374,9.998), (8.174,9.798,8.374,9.998), (8.174,9.798,8.374,9.998), (9.464,9.798,9.664,9.998), (9.464,9.798,9.664,9.998), (9.464,9.798,9.664,9.998), (9.464,9.798,9.664,9.998), (9.034,11.058,9.234,11.258), (9.034,11.058,9.234,11.258), (9.464,11.058,9.664,11.258), (9.464,11.058,9.664,11.258), (9.034,12.318,9.234,12.518)])
R(dcdc_comp, met3, [(17.478,3.262,18.7,3.732), (0.245,4.454,1.467,4.924), (8.109,5.718,8.439,6.518), (8.109,5.718,8.439,6.518), (8.109,5.718,8.439,6.518), (8.109,5.718,8.439,6.518), (8.274,5.718,12.574,6.518), (12.409,5.718,12.739,6.518), (12.409,5.718,12.739,6.518), (12.409,5.718,12.739,6.518), (12.409,5.718,12.739,6.518), (17.478,5.799,18.7,6.269), (0.245,7.952,1.467,8.422), (17.478,8.725,18.7,9.195), (8.109,9.498,8.439,10.298), (8.109,9.498,8.439,10.298), (8.109,9.498,8.439,10.298), (8.109,9.498,8.439,10.298), (8.274,9.498,9.564,10.298), (8.679,9.498,9.009,10.298), (8.679,9.498,9.009,10.298), (9.399,9.498,9.729,10.298), (9.399,9.498,9.729,10.298), (9.399,9.498,9.729,10.298), (9.399,9.498,9.729,10.298), (8.969,10.758,9.299,11.558), (8.969,10.758,9.299,11.558), (9.134,10.758,9.564,11.558), (9.399,10.758,9.729,11.558), (9.399,10.758,9.729,11.558), (0.245,10.928,1.467,11.398), (17.478,11.45,18.7,11.92), (8.679,12.018,9.009,12.818), (8.839,12.018,9.139,12.818), (8.969,12.018,9.299,12.818), (17.478,13.861,18.7,14.331), (0.245,14.057,1.467,14.527), (0.245,16.182,1.467,16.652), (17.478,16.201,18.7,16.671), (17.478,19.93,18.7,20.4), (0.245,20.017,1.467,20.487), (0.245,21.989,1.467,22.459), (17.478,22.996,18.7,23.466), (0.245,24.587,1.467,25.057), (0.245,26.095,1.467,26.565)])
R(dcdc_comp, via3, [(17.643,3.403,17.843,3.603), (18.289,3.403,18.489,3.603), (0.456,4.595,0.656,4.795), (1.102,4.595,1.302,4.795), (17.643,5.94,17.843,6.14), (18.289,5.94,18.489,6.14), (0.456,8.093,0.656,8.293), (1.102,8.093,1.302,8.293), (17.643,8.866,17.843,9.066), (18.289,8.866,18.489,9.066), (8.744,9.798,8.944,9.998), (8.744,9.798,8.944,9.998), (0.456,11.069,0.656,11.269), (1.102,11.069,1.302,11.269), (17.643,11.591,17.843,11.791), (18.289,11.591,18.489,11.791), (8.744,12.318,8.944,12.518), (17.643,14.002,17.843,14.202), (18.289,14.002,18.489,14.202), (0.456,14.198,0.656,14.398), (1.102,14.198,1.302,14.398), (0.456,16.323,0.656,16.523), (1.102,16.323,1.302,16.523), (17.643,16.342,17.843,16.542), (18.289,16.342,18.489,16.542), (17.643,20.071,17.843,20.271), (18.289,20.071,18.489,20.271), (0.456,20.158,0.656,20.358), (1.102,20.158,1.302,20.358), (0.456,22.13,0.656,22.33), (1.102,22.13,1.302,22.33), (17.643,23.137,17.843,23.337), (18.289,23.137,18.489,23.337), (0.456,24.728,0.656,24.928), (1.102,24.728,1.302,24.928), (0.456,26.236,0.656,26.436), (1.102,26.236,1.302,26.436)])
R(dcdc_comp, met4, [(0,0.001,1.6,29.8), (17.316,0.001,18.916,29.8), (8.254,9.733,9.434,10.063), (8.254,9.733,9.434,10.063), (8.254,9.898,9.434,12.418), (8.254,12.253,9.434,12.583)])
R(dcdc_comp, via4, [(17.741,0.449,18.541,1.249), (0.373,0.452,1.173,1.252), (17.741,28.649,18.541,29.449), (0.373,28.652,1.173,29.452)])
R(dcdc_comp, met5, [(0,0,18.916,1.6), (0,28.2,18.916,29.8)])
R(dcdc_comp, psdm, [(2.743,2.322,16.403,3.042), (2.743,2.322,3.463,27.768), (15.683,2.322,16.403,27.768), (2.743,27.048,16.403,27.768)])
R(dcdc_comp, boundary, [(0,0,18.916,29.8)])
R(dcdc_comp, L235_5, [(4.404,3.598,14.724,26.278)])
dcdc_comp.add(gdstk.Reference(ccp_pmos_58853955_x1_y1_, (7.844,11.158), x_reflection=True))
dcdc_comp.add(gdstk.Reference(cmc_pmos_23131506_x1_y1_, (14.724,11.158), rotation=pi))
dcdc_comp.add(gdstk.Reference(cmc_pmos_23131506_x1_y1_, (4.404,11.158), x_reflection=True))
dcdc_comp.add(gdstk.Reference(ccp_s_nmos_b_5782581_x1_, (12.574,11.158), rotation=pi, x_reflection=True))
dcdc_comp.add(gdstk.Reference(dp_nmos_b_93310865_x1_y1, (11.284,18.718), rotation=pi, x_reflection=True))
dcdc_comp.add(gdstk.Reference(nmos_s_93862694_x1_y1_16, (13.864,18.718), rotation=pi, x_reflection=True))
dcdc_comp.add(gdstk.Label('VPWR', (9.994,0.227), layer=69, texttype=5))
dcdc_comp.add(gdstk.Label('VOP', (9.134,0.224), layer=69, texttype=5))
dcdc_comp.add(gdstk.Label('VIN', (18.813,24.312), layer=68, texttype=5))
dcdc_comp.add(gdstk.Label('VIP', (0.189,23.753), layer=68, texttype=5))
dcdc_comp.add(gdstk.Label('VGND', (3.093,17.88), layer=68, texttype=5))
dcdc_comp.add(gdstk.Label('CLK', (13.004,6.538), layer=68, texttype=5))

lib.write_gds('DCDC_COMP.gds')
